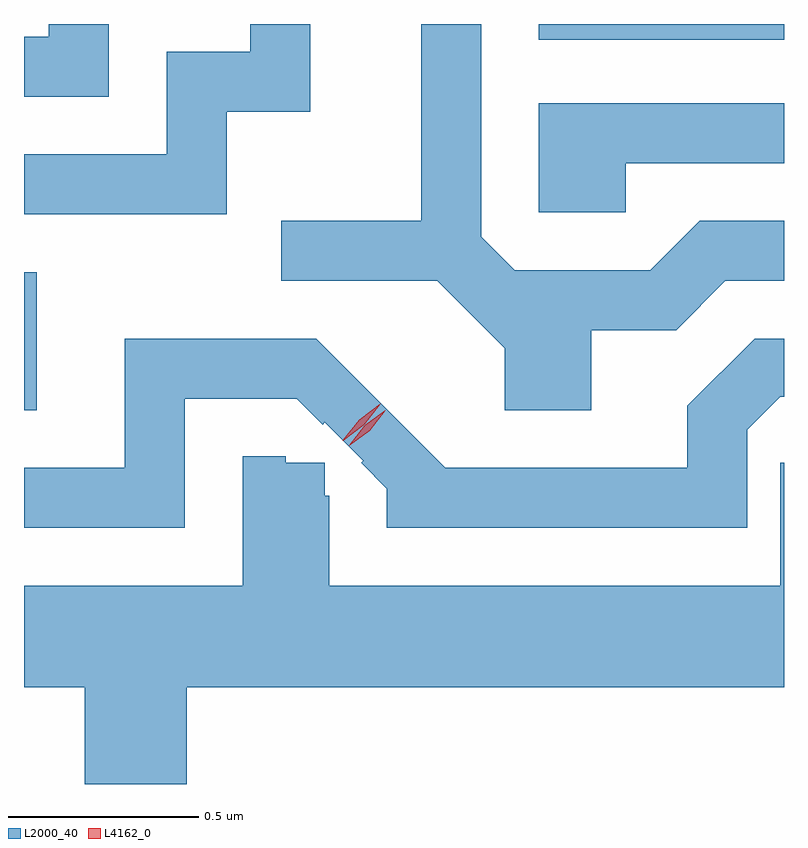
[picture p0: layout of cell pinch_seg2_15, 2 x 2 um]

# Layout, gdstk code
import gdstk
lib = gdstk.Library(unit=1e-6, precision=1e-09)
def R(c, l, rs):  # rectangles x0, y0, x1, y1
    for r in rs: c.add(gdstk.rectangle(r[:2], r[2:], *l))
def P(c, l, *ps):  # polygons
    for p in ps: c.add(gdstk.Polygon(p, *l))
L2000_40 = (2000, 40)
L4162_0 = (4162, 0)

pinch_seg2_15 = lib.new_cell('pinch_seg2_15')
R(pinch_seg2_15, L2000_40, [(1893.236,1013.526,1893.269,1013.889), (1894.591,1014.501,1895.236,1014.542)])
P(pinch_seg2_15, L2000_40, [(1893.769,1014.311),(1893.989,1014.311),(1893.989,1014.542),(1893.831,1014.542),(1893.831,1014.469),(1893.611,1014.469),(1893.611,1014.199),(1893.236,1014.199),(1893.236,1014.041),(1893.769,1014.041)],
  [(1893.459,1014.542),(1893.301,1014.542),(1893.301,1014.509),(1893.236,1014.509),(1893.236,1014.351),(1893.459,1014.351)],
  [(1894.729,1013.736),(1894.952,1013.736),(1895.082,1013.866),(1895.236,1013.866),(1895.236,1014.024),(1895.014,1014.024),(1894.884,1013.894),(1894.527,1013.894),(1894.439,1013.982),(1894.439,1014.542),(1894.281,1014.542),(1894.281,1014.024),(1893.913,1014.024),(1893.913,1013.866),(1894.324,1013.866),(1894.501,1013.689),(1894.501,1013.526),(1894.729,1013.526)],
  [(1894.819,1014.176),(1895.236,1014.176),(1895.236,1014.334),(1894.591,1014.334),(1894.591,1014.046),(1894.819,1014.046)],
  [(1893.659,1013.556),(1893.954,1013.556),(1894.022,1013.488),(1894.028,1013.494),(1894.129,1013.393),(1894.123,1013.387),(1894.191,1013.319),(1894.191,1013.216),(1895.139,1013.216),(1895.139,1013.474),(1895.226,1013.561),(1895.236,1013.561),(1895.236,1013.714),(1895.159,1013.714),(1894.981,1013.537),(1894.981,1013.374),(1894.345,1013.374),(1894.005,1013.714),(1893.501,1013.714),(1893.501,1013.374),(1893.236,1013.374),(1893.236,1013.216),(1893.659,1013.216)],
  [(1893.664,1012.796),(1895.236,1012.796),(1895.236,1013.387),(1895.226,1013.387),(1895.226,1013.064),(1894.039,1013.064),(1894.039,1013.3),(1894.028,1013.3),(1894.028,1013.388),(1893.925,1013.388),(1893.925,1013.404),(1893.811,1013.404),(1893.811,1013.064),(1893.236,1013.064),(1893.236,1012.796),(1893.396,1012.796),(1893.396,1012.542),(1893.664,1012.542)])
P(pinch_seg2_15, L4162_0, [(1894.075,1013.445),(1894.075,1013.446),(1894.118,1013.501),(1894.174,1013.543),(1894.174,1013.543),(1894.174,1013.542),(1894.132,1013.487),(1894.076,1013.445)],
  [(1894.092,1013.432),(1894.092,1013.433),(1894.133,1013.486),(1894.187,1013.525),(1894.187,1013.525),(1894.187,1013.524),(1894.146,1013.471),(1894.092,1013.432)])

lib.write_gds('pinch_seg2_15.gds')
